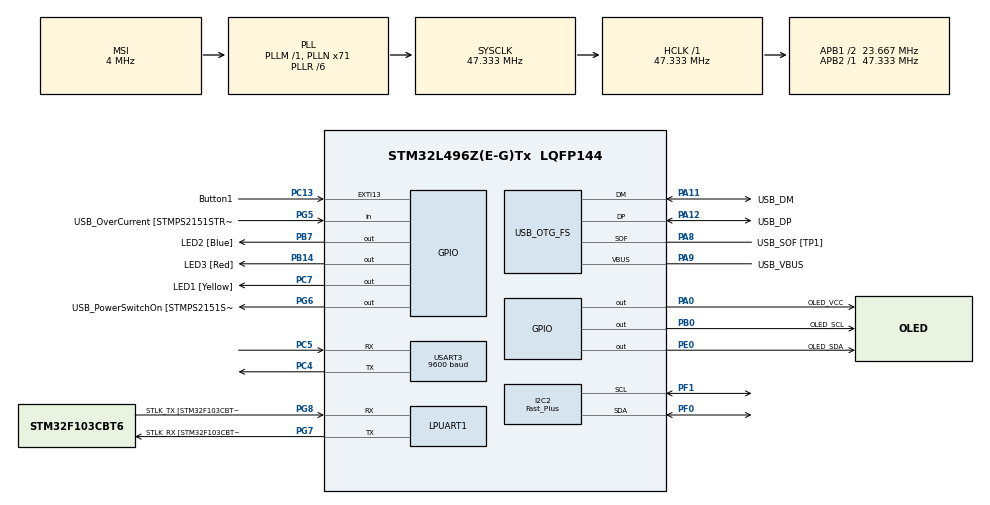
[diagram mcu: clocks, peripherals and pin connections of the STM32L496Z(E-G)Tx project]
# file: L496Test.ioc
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FREERTOS.INCLUDE_eTaskGetState=0
FREERTOS.INCLUDE_pcTaskGetTaskName=0
FREERTOS.INCLUDE_xTaskGetCurrentTaskHandle=0
FREERTOS.INCLUDE_xTaskGetHandle=0
FREERTOS.Tasks01=defaultTask,0,128,StartDefaultTask,Default,NULL,Dynamic,NULL,NULL
I2C2.I2C_Fall_Time=2
I2C2.I2C_Rise_Time=1
I2C2.I2C_Speed_Mode=I2C_Fast_Plus
I2C2.Speed=1000
I2C2.Timing=0x0010020D
Mcu.Family=STM32L4
Mcu.Name=STM32L496Z(E-G)Tx
Mcu.Package=LQFP144
NVIC.EXTI15_10_IRQn=true\:5\:0\:true\:false\:true\:true\:true
NVIC.PriorityGroup=NVIC_PRIORITYGROUP_4
NVIC.TIM1_UP_TIM16_IRQn=true\:0\:0\:false\:false\:true\:false\:false
NVIC.TIM2_IRQn=true\:5\:0\:false\:false\:true\:true\:true
NVIC.TimeBase=TIM1_UP_TIM16_IRQn
NVIC.TimeBaseIP=TIM1
NVIC.USART3_IRQn=true\:6\:0\:true\:false\:true\:true\:true
PA0.GPIO_Label=OLED_VCC
PA0.PinState=GPIO_PIN_SET
PA0.Signal=GPIO_Output
PA10.GPIO_Label=USB_ID
PA10.Signal=USB_OTG_FS_ID
PA11.GPIO_Label=USB_DM
PA11.Mode=Device_Only
PA11.Signal=USB_OTG_FS_DM
PA12.GPIO_Label=USB_DP
PA12.Mode=Device_Only
PA12.Signal=USB_OTG_FS_DP
PA13\ (JTMS/SWDIO).GPIO_Label=TMS
PA13\ (JTMS/SWDIO).Mode=Trace_Asynchronous_SW
PA13\ (JTMS/SWDIO).Signal=SYS_JTMS-SWDIO
PA14\ (JTCK/SWCLK).GPIO_Label=TCK
PA14\ (JTCK/SWCLK).Mode=Trace_Asynchronous_SW
PA14\ (JTCK/SWCLK).Signal=SYS_JTCK-SWCLK
PA8.GPIO_Label=USB_SOF [TP1]
PA8.Mode=Activate_SOF_FS
PA8.Signal=USB_OTG_FS_SOF
PA9.GPIO_Label=USB_VBUS
PA9.Mode=Activate_VBUS
PA9.Signal=USB_OTG_FS_VBUS
PB0.GPIO_Label=OLED_SCL
PB0.GPIO_Speed=GPIO_SPEED_FREQ_VERY_HIGH
PB0.PinState=GPIO_PIN_SET
PB0.Signal=GPIO_Output
PB14.GPIO_Label=LED3 [Red]
PB14.Signal=GPIO_Output
PB3\ (JTDO/TRACESWO).GPIO_Label=SWO
PB3\ (JTDO/TRACESWO).Mode=Trace_Asynchronous_SW
PB3\ (JTDO/TRACESWO).Signal=SYS_JTDO-SWO
PB7.GPIO_Label=LED2 [Blue]
PB7.Signal=GPIO_Output
PC13.GPIO_Label=Button1
PC13.Signal=GPXTI13
PC14-OSC32_IN\ (PC14).Mode=LSE-External-Oscillator
PC14-OSC32_IN\ (PC14).Signal=RCC_OSC32_IN
PC15-OSC32_OUT\ (PC15).Mode=LSE-External-Oscillator
PC15-OSC32_OUT\ (PC15).Signal=RCC_OSC32_OUT
PC4.Mode=Asynchronous
PC4.Signal=USART3_TX
PC5.Mode=Asynchronous
PC5.Signal=USART3_RX
PC7.GPIO_Label=LED1 [Yellow]
PC7.Signal=GPIO_Output
PE0.GPIO_Label=OLED_SDA
PE0.GPIO_Speed=GPIO_SPEED_FREQ_VERY_HIGH
PE0.PinState=GPIO_PIN_SET
PE0.Signal=GPIO_Output
PF0.Mode=I2C
PF0.Signal=I2C2_SDA
PF1.Mode=I2C
PF1.Signal=I2C2_SCL
PG5.GPIO_Label=USB_OverCurrent [STMPS2151STR_FAULT]
PG5.Signal=GPIO_Input
PG6.GPIO_Label=USB_PowerSwitchOn [STMPS2151STR_EN]
PG6.Signal=GPIO_Output
PG7.GPIO_Label=STLK_RX [STM32F103CBT6_PA3]
PG7.Mode=Asynchronous
PG7.Signal=LPUART1_TX
PG8.GPIO_Label=STLK_TX [STM32F103CBT6_PA2]
PG8.Mode=Asynchronous
PG8.Signal=LPUART1_RX
PH1-OSC_OUT\ (PH1).Signal=RCC_OSC_OUT
ProjectManager.HeapSize=0x200
ProjectManager.StackSize=0x400
ProjectManager.TargetToolchain=EWARM V8
RCC.48MHZClocksFreq_Value=24000000
RCC.ADCFreq_Value=48000000
RCC.AHBFreq_Value=47333333.333333336
RCC.APB1CLKDivider=RCC_HCLK_DIV2
RCC.APB1Freq_Value=23666666.666666668
RCC.APB1TimFreq_Value=47333333.333333336
RCC.APB2Freq_Value=47333333.333333336
RCC.APB2TimFreq_Value=47333333.333333336
RCC.CortexFreq_Value=47333333.333333336
RCC.HCLKFreq_Value=47333333.333333336
RCC.HSE_VALUE=8000000
RCC.HSI48_VALUE=48000000
RCC.HSI_VALUE=16000000
RCC.MSI_VALUE=4000000
RCC.PLLMUL=RCC_PLL_MUL9
RCC.PLLN=71
RCC.PLLR=RCC_PLLR_DIV6
RCC.PLLSAI1N=24
RCC.PRESCALERUSB=RCC_USBCLKSOURCE_PLL_DIV1_5
RCC.SYSCLKFreq_VALUE=47333333.333333336
RCC.SYSCLKSource=RCC_SYSCLKSOURCE_PLLCLK
RCC.SYSCLKSourceVirtual=RCC_SYSCLKSOURCE_PLLCLK
RCC.USBFreq_Value=48000000
RCC.VCOOutputFreq_Value=284000000
TIM2.Period=49
TIM2.Prescaler=79
USART3.BaudRate=9600
USART3.VirtualMode-Asynchronous=VM_ASYNC
USB_OTG_FS.VirtualMode=Device_Only
VP_FREERTOS_VS_ENABLE.Mode=Enabled
VP_SYS_VS_tim1.Mode=TIM1
VP_TIM2_VS_ClockSourceINT.Mode=Internal
board=NUCLEO-L496ZG

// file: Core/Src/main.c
/**
  ******************************************************************************
  * @file           : main.c
  * @brief          : Main program body
  ******************************************************************************
  * This notice applies to any and all portions of this file
  * that are not between comment pairs USER CODE BEGIN and
  * USER CODE END. Other portions of this file, whether
  * inserted by the user or by software development tools
  * are owned by their respective copyright owners.
  *
  * Copyright (c) 2018 STMicroelectronics International N.V.
  * All rights reserved.
  *
  * Redistribution and use in source and binary forms, with or without
  * modification, are permitted, provided that the following conditions are met:
  *
  * 1. Redistribution of source code must retain the above copyright notice,
  *    this list of conditions and the following disclaimer.
  * 2. Redistributions in binary form must reproduce the above copyright notice,
  *    this list of conditions and the following disclaimer in the documentation
  *    and/or other materials provided with the distribution.
  * 3. Neither the name of STMicroelectronics nor the names of other
  *    contributors to this software may be used to endorse or promote products
  *    derived from this software without specific written permission.
  * 4. This software, including modifications and/or derivative works of this
  *    software, must execute solely and exclusively on microcontroller or
  *    microprocessor devices manufactured by or for STMicroelectronics.
  * 5. Redistribution and use of this software other than as permitted under
  *    this license is void and will automatically terminate your rights under
  *    this license.
  *
  * THIS SOFTWARE IS PROVIDED BY STMICROELECTRONICS AND CONTRIBUTORS "AS IS"
  * AND ANY EXPRESS, IMPLIED OR STATUTORY WARRANTIES, INCLUDING, BUT NOT
  * LIMITED TO, THE IMPLIED WARRANTIES OF MERCHANTABILITY, FITNESS FOR A
  * PARTICULAR PURPOSE AND NON-INFRINGEMENT OF THIRD PARTY INTELLECTUAL PROPERTY
  * RIGHTS ARE DISCLAIMED TO THE FULLEST EXTENT PERMITTED BY LAW. IN NO EVENT
  * SHALL STMICROELECTRONICS OR CONTRIBUTORS BE LIABLE FOR ANY DIRECT, INDIRECT,
  * INCIDENTAL, SPECIAL, EXEMPLARY, OR CONSEQUENTIAL DAMAGES (INCLUDING, BUT NOT
  * LIMITED TO, PROCUREMENT OF SUBSTITUTE GOODS OR SERVICES; LOSS OF USE, DATA,
  * OR PROFITS; OR BUSINESS INTERRUPTION) HOWEVER CAUSED AND ON ANY THEORY OF
  * LIABILITY, WHETHER IN CONTRACT, STRICT LIABILITY, OR TORT (INCLUDING
  * NEGLIGENCE OR OTHERWISE) ARISING IN ANY WAY OUT OF THE USE OF THIS SOFTWARE,
  * EVEN IF ADVISED OF THE POSSIBILITY OF SUCH DAMAGE.
  *
  ******************************************************************************
  */
#include "main.h"
#include "stm32l4xx_hal.h"
#include "cmsis_os.h"
#include "i2c.h"
#include "usart.h"
#include "tim.h"
#include "usb_otg.h"
#include "gpio.h"

/* USER CODE BEGIN PV */
/* Private variables ---------------------------------------------------------*/

/* USER CODE END PV */

void SystemClock_Config(void);
void MX_FREERTOS_Init(void);

/* USER CODE BEGIN PFP */
/* Private function prototypes -----------------------------------------------*/

/* USER CODE END PFP */

int main(void)
{

  /* MCU Configuration----------------------------------------------------------*/

  /* Reset of all peripherals, Initializes the Flash interface and the Systick. */
  HAL_Init();

  /* Configure the system clock */
  SystemClock_Config();

  /* Initialize all configured peripherals */
  MX_GPIO_Init();
  MX_LPUART1_UART_Init();
  MX_USB_OTG_FS_PCD_Init();
  MX_USART3_UART_Init();
  MX_I2C2_Init();
  MX_TIM2_Init();
  /* USER CODE BEGIN 2 */
    OLED_Init();
    Init_MPU9250();
    HAL_TIM_Base_Start_IT(&htim2);
  /* USER CODE END 2 */

  /* Call init function for freertos objects (in freertos.c) */
  MX_FREERTOS_Init();

  /* Start scheduler */
  osKernelStart();

  /* We should never get here as control is now taken by the scheduler */

  /* Infinite loop */
    while ( 1 )
    {

    }

}

void SystemClock_Config(void)
{

  RCC_OscInitTypeDef RCC_OscInitStruct;
  RCC_ClkInitTypeDef RCC_ClkInitStruct;
  RCC_PeriphCLKInitTypeDef PeriphClkInit;

    /**Configure LSE Drive Capability
    */
  HAL_PWR_EnableBkUpAccess();

  __HAL_RCC_LSEDRIVE_CONFIG(RCC_LSEDRIVE_LOW);

    /**Initializes the CPU, AHB and APB busses clocks
    */
  RCC_OscInitStruct.OscillatorType = RCC_OSCILLATORTYPE_LSE|RCC_OSCILLATORTYPE_MSI;
  RCC_OscInitStruct.LSEState = RCC_LSE_ON;
  RCC_OscInitStruct.MSIState = RCC_MSI_ON;
  RCC_OscInitStruct.MSICalibrationValue = 0;
  RCC_OscInitStruct.MSIClockRange = RCC_MSIRANGE_6;
  RCC_OscInitStruct.PLL.PLLState = RCC_PLL_ON;
  RCC_OscInitStruct.PLL.PLLSource = RCC_PLLSOURCE_MSI;
  RCC_OscInitStruct.PLL.PLLM = 1;
  RCC_OscInitStruct.PLL.PLLN = 71;
  RCC_OscInitStruct.PLL.PLLP = RCC_PLLP_DIV2;
  RCC_OscInitStruct.PLL.PLLQ = RCC_PLLQ_DIV2;
  RCC_OscInitStruct.PLL.PLLR = RCC_PLLR_DIV6;
  if (HAL_RCC_OscConfig(&RCC_OscInitStruct) != HAL_OK)
  {
    _Error_Handler(__FILE__, __LINE__);
  }

    /**Initializes the CPU, AHB and APB busses clocks
    */
  RCC_ClkInitStruct.ClockType = RCC_CLOCKTYPE_HCLK|RCC_CLOCKTYPE_SYSCLK
                              |RCC_CLOCKTYPE_PCLK1|RCC_CLOCKTYPE_PCLK2;
  RCC_ClkInitStruct.SYSCLKSource = RCC_SYSCLKSOURCE_PLLCLK;
  RCC_ClkInitStruct.AHBCLKDivider = RCC_SYSCLK_DIV1;
  RCC_ClkInitStruct.APB1CLKDivider = RCC_HCLK_DIV2;
  RCC_ClkInitStruct.APB2CLKDivider = RCC_HCLK_DIV1;

  if (HAL_RCC_ClockConfig(&RCC_ClkInitStruct, FLASH_LATENCY_2) != HAL_OK)
  {
    _Error_Handler(__FILE__, __LINE__);
  }

  PeriphClkInit.PeriphClockSelection = RCC_PERIPHCLK_USART3|RCC_PERIPHCLK_LPUART1
                              |RCC_PERIPHCLK_I2C2|RCC_PERIPHCLK_USB;
  PeriphClkInit.Usart3ClockSelection = RCC_USART3CLKSOURCE_PCLK1;
  PeriphClkInit.Lpuart1ClockSelection = RCC_LPUART1CLKSOURCE_PCLK1;
  PeriphClkInit.I2c2ClockSelection = RCC_I2C2CLKSOURCE_PCLK1;
  PeriphClkInit.UsbClockSelection = RCC_USBCLKSOURCE_PLLSAI1;
  PeriphClkInit.PLLSAI1.PLLSAI1Source = RCC_PLLSOURCE_MSI;
  PeriphClkInit.PLLSAI1.PLLSAI1M = 1;
  PeriphClkInit.PLLSAI1.PLLSAI1N = 24;
  PeriphClkInit.PLLSAI1.PLLSAI1P = RCC_PLLP_DIV2;
  PeriphClkInit.PLLSAI1.PLLSAI1Q = RCC_PLLQ_DIV2;
  PeriphClkInit.PLLSAI1.PLLSAI1R = RCC_PLLR_DIV2;
  PeriphClkInit.PLLSAI1.PLLSAI1ClockOut = RCC_PLLSAI1_48M2CLK;
  if (HAL_RCCEx_PeriphCLKConfig(&PeriphClkInit) != HAL_OK)
  {
    _Error_Handler(__FILE__, __LINE__);
  }

    /**Configure the main internal regulator output voltage
    */
  if (HAL_PWREx_ControlVoltageScaling(PWR_REGULATOR_VOLTAGE_SCALE1) != HAL_OK)
  {
    _Error_Handler(__FILE__, __LINE__);
  }

    /**Configure the Systick interrupt time
    */
  HAL_SYSTICK_Config(HAL_RCC_GetHCLKFreq()/1000);

    /**Configure the Systick
    */
  HAL_SYSTICK_CLKSourceConfig(SYSTICK_CLKSOURCE_HCLK);

    /**Enable MSI Auto calibration
    */
  HAL_RCCEx_EnableMSIPLLMode();

  /* SysTick_IRQn interrupt configuration */
  HAL_NVIC_SetPriority(SysTick_IRQn, 15, 0);
}

void HAL_TIM_PeriodElapsedCallback(TIM_HandleTypeDef *htim)
{
  if (htim->Instance == TIM1) {
    HAL_IncTick();
  }
  /* USER CODE BEGIN Callback 1 */
    if (htim->Instance == TIM2)
    {
        ulHighFrequencyTimerTicks++;
        HAL_GPIO_TogglePin(LED2_GPIO_Port, LED2_Pin);
    }
  /* USER CODE END Callback 1 */
}

void _Error_Handler(char *file, int line)
{
    while ( 1 )
    {
    }
}

#ifdef  USE_FULL_ASSERT
/**
  * @brief  Reports the name of the source file and the source line number
  *         where the assert_param error has occurred.
  * @param  file: pointer to the source file name
  * @param  line: assert_param error line source number
  * @retval None
  */
void assert_failed(uint8_t* file, uint32_t line)
{
  /* USER CODE BEGIN 6 */
    /* User can add his own implementation to report the file name and line number,
       tex: printf("Wrong parameters value: file %s on line %d\r\n", file, line) */
    printf("Wrong parameters value: file %s on line %d\r\n", file, line);
  /* USER CODE END 6 */
}
#endif /* USE_FULL_ASSERT */

/************************ (C) COPYRIGHT STMicroelectronics *****END OF FILE****/

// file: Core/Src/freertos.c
/* USER CODE BEGIN Header */
/**
  ******************************************************************************
  * File Name          : freertos.c
  * Description        : Code for freertos applications
  ******************************************************************************
  * This notice applies to any and all portions of this file
  * that are not between comment pairs USER CODE BEGIN and
  * USER CODE END. Other portions of this file, whether
  * inserted by the user or by software development tools
  * are owned by their respective copyright owners.
  *
  * Copyright (c) 2018 STMicroelectronics International N.V.
  * All rights reserved.
  *
  * Redistribution and use in source and binary forms, with or without
  * modification, are permitted, provided that the following conditions are met:
  *
  * 1. Redistribution of source code must retain the above copyright notice,
  *    this list of conditions and the following disclaimer.
  * 2. Redistributions in binary form must reproduce the above copyright notice,
  *    this list of conditions and the following disclaimer in the documentation
  *    and/or other materials provided with the distribution.
  * 3. Neither the name of STMicroelectronics nor the names of other
  *    contributors to this software may be used to endorse or promote products
  *    derived from this software without specific written permission.
  * 4. This software, including modifications and/or derivative works of this
  *    software, must execute solely and exclusively on microcontroller or
  *    microprocessor devices manufactured by or for STMicroelectronics.
  * 5. Redistribution and use of this software other than as permitted under
  *    this license is void and will automatically terminate your rights under
  *    this license.
  *
  * THIS SOFTWARE IS PROVIDED BY STMICROELECTRONICS AND CONTRIBUTORS "AS IS"
  * AND ANY EXPRESS, IMPLIED OR STATUTORY WARRANTIES, INCLUDING, BUT NOT
  * LIMITED TO, THE IMPLIED WARRANTIES OF MERCHANTABILITY, FITNESS FOR A
  * PARTICULAR PURPOSE AND NON-INFRINGEMENT OF THIRD PARTY INTELLECTUAL PROPERTY
  * RIGHTS ARE DISCLAIMED TO THE FULLEST EXTENT PERMITTED BY LAW. IN NO EVENT
  * SHALL STMICROELECTRONICS OR CONTRIBUTORS BE LIABLE FOR ANY DIRECT, INDIRECT,
  * INCIDENTAL, SPECIAL, EXEMPLARY, OR CONSEQUENTIAL DAMAGES (INCLUDING, BUT NOT
  * LIMITED TO, PROCUREMENT OF SUBSTITUTE GOODS OR SERVICES; LOSS OF USE, DATA,
  * OR PROFITS; OR BUSINESS INTERRUPTION) HOWEVER CAUSED AND ON ANY THEORY OF
  * LIABILITY, WHETHER IN CONTRACT, STRICT LIABILITY, OR TORT (INCLUDING
  * NEGLIGENCE OR OTHERWISE) ARISING IN ANY WAY OUT OF THE USE OF THIS SOFTWARE,
  * EVEN IF ADVISED OF THE POSSIBILITY OF SUCH DAMAGE.
  *
  ******************************************************************************
  */
/* USER CODE END Header */

#include "FreeRTOS.h"
#include "task.h"
#include "main.h"
#include "cmsis_os.h"

/* USER CODE BEGIN Includes */
#include "common.h"
#include "string.h"
/* USER CODE END Includes */

/* USER CODE BEGIN Variables */

/* 定义服务 */
osThreadId LED3TaskHandle;
osThreadId OLEDTaskHandle;          // OLED 显示内容
osThreadId OLEDRefreshHandle;       // OLED 显示刷新
osThreadId ReadTaskStateHandle;     // 显示任务状态

/* USER CODE END Variables */
osThreadId defaultTaskHandle;

/* USER CODE BEGIN FunctionPrototypes */
void StartLED3Task(void const * argument);
void OLEDShowTask(void const * argument);
void OLEDRefreshTask(void const * argument);
void ReadTaskStateTask(void const * argument);

/* USER CODE END FunctionPrototypes */

void StartDefaultTask(void const * argument);

void MX_FREERTOS_Init(void); /* (MISRA C 2004 rule 8.1) */

void MX_FREERTOS_Init(void) {

  /* Create the thread(s) */
  /* definition and creation of defaultTask */
  osThreadDef(defaultTask, StartDefaultTask, osPriorityNormal, 0, 128);
  defaultTaskHandle = osThreadCreate(osThread(defaultTask), NULL);

  /* USER CODE BEGIN RTOS_THREADS */
    /* add threads, ... */
    osThreadDef(LED3Task,       StartLED3Task,      osPriorityNormal,       0, 32);
    osThreadDef(OLEDShow,       OLEDShowTask,       osPriorityAboveNormal,  0, 128);    // OLED 显示内容
    osThreadDef(OLEDRefresh,    OLEDRefreshTask,    osPriorityNormal,       0, 64);     // OLED 显示刷新
    osThreadDef(ReadTaskState,  ReadTaskStateTask,  osPriorityNormal,       0, 128);    // 显示任务状态

  /* USER CODE END RTOS_THREADS */

  /* USER CODE BEGIN RTOS_QUEUES */
    /* add queues, ... */
    LED3TaskHandle      = osThreadCreate(osThread(LED3Task),        NULL);
    OLEDTaskHandle      = osThreadCreate(osThread(OLEDShow),        NULL);      // OLED 显示内容
    OLEDRefreshHandle   = osThreadCreate(osThread(OLEDRefresh),     NULL);      // OLED 显示刷新
    ReadTaskStateHandle = osThreadCreate(osThread(ReadTaskState),   NULL);      // 显示任务状态

  /* USER CODE END RTOS_QUEUES */
}

void StartDefaultTask(void const * argument)
{

  /* USER CODE BEGIN StartDefaultTask */
    /* Infinite loop */

    for (;;)
    {
        osDelay(500);
        HAL_GPIO_TogglePin(LED1_GPIO_Port, LED1_Pin);

//        osDelay(100);
//        printf("Temp:91.79 \r\n");
//        printf("Hum:109.23 \n");
    }
  /* USER CODE END StartDefaultTask */
}

/* USER CODE BEGIN Application */
void StartLED3Task(void const * argument)
{
    for (;;)
    {
        osDelay(250);
        HAL_GPIO_TogglePin(LED3_GPIO_Port, LED3_Pin);

    }
}

void OLEDShowTask(void const * argument)
{
    for (;;)
    {
        osDelay(40);
        static uint32_t count = 0;
//        char str[20] = {0};           // 这里是个疑问，用*str就不行
//        sprintf(str, "计数:%d", count++);
//        OLED_Show_StrAll(0, 0, str, 1);

        OLED_Show_Pic(11, 25, IMG64[(count++/15)%5], 64, 64, 1);
        switch ((count++/15)%5)
        {
            case 0:
                OLED_Show_StrAll(23, 95, 16, "拨 号", 1);
                break;
            case 1:
                OLED_Show_StrAll(23, 95, 16, "影 音", 1);
                break;
            case 2:
                OLED_Show_StrAll(23, 95, 16, "搜 索", 1);
                break;
            case 3:
                OLED_Show_StrAll(23, 95, 16, "游 戏", 1);
                break;
            case 4:
                OLED_Show_StrAll(23, 95, 16, "设 置", 1);
                break;

        }

        OLED_Refresh_Gram();
    }
}

void OLEDRefreshTask(void const * argument)
{
    for (;;)
    {
        osDelay(40);    // 大概25帧
//        OLED_Refresh_Gram();
    }
}

char RunTimeInfo[512];
void ReadTaskStateTask(void const * argument)
{
//    char *pcWriteBuffer = 0;
    for (;;)
    {
        osDelay(10);
        if (HAL_GPIO_ReadPin(Button1_GPIO_Port, Button1_Pin) == GPIO_PIN_SET)
        {
            // 为什么大于4个任务就完全不显示
//            vTaskList((char *)&pcWriteBuffer);
//    //        printf("U\t\tU\tU\tU\tU\r\n");
//            printf("任务名      运行状态  优先级  剩余栈 任务序号\r\n");
//            printf(pcWriteBuffer);
//            printf("\r\n");
//
//    //        printf("\r\nUU\t\tUU\t\tUU\r\n");

            TaskHandle_t TaskHandle;        // 任务句柄
            TaskStatus_t TaskStatus;        // 任务信息结构体

            uint32_t TotalRunTime = 0;
            UBaseType_t ArraySize = uxTaskGetNumberOfTasks();   // 获取任务数量
            TaskStatus_t *StatusArray = pvPortMalloc(ArraySize * sizeof(TaskStatus_t)); // 申请内存
            if (StatusArray != NULL)
            {
                ArraySize = uxTaskGetSystemState((TaskStatus_t *)StatusArray,
                                                 (UBaseType_t   )ArraySize,
                                                 (uint32_t *    )&TotalRunTime);

                printf("%-15s   %-8s   %-8s   %-8s   %-8s   %-8s   %-10s \r\n",
                       "任务名",
                       "基优先级",
                       "当前优先",
                       "任务序号",
                       "运行状态",
                       "栈史小值",
                       "堆栈基地址");
                for (UBaseType_t i=0; i<ArraySize; i++)
                {
                    TaskHandle = xTaskGetHandle(StatusArray[i].pcTaskName); // 获取任务句柄
                    vTaskGetInfo((TaskHandle_t      )TaskHandle,
                                 (TaskStatus_t *    )&TaskStatus,
                                 (BaseType_t        )10,
                                 (eTaskState        )eInvalid);

                    char stateStr[8] = {0};
                    switch (TaskStatus.eCurrentState)
                    {
                        case eRunning:
                            sprintf(stateStr, "运行");
                            break;
                        case eReady:
                            sprintf(stateStr, "就绪");
                            break;
                        case eBlocked:
                            sprintf(stateStr, "阻塞");
                            break;
                        case eSuspended:
                            sprintf(stateStr, "暂停");
                            break;
                        case eDeleted:
                            sprintf(stateStr, "删除");
                            break;
                        case eInvalid:
                            sprintf(stateStr, "无效");
                            break;
                    }

                    printf("%-15s   %-8d   %-8d   %-8d   %-8s   %-8d   %-#10x \r\n",
                           StatusArray[i].pcTaskName,               // 任务名
                           (int)TaskStatus.uxBasePriority,          // 任务基优先级
                           (int)TaskStatus.uxCurrentPriority,       // 任务当前优先级
                           (int)TaskStatus.xTaskNumber,             // 任务序号
                           stateStr,                                // 任务运行状态
                           (int)TaskStatus.usStackHighWaterMark,    // 任务堆栈历史最小值
                           (int)TaskStatus.pxStackBase              // 任务堆栈基地址

                          );
                }
                printf("\r\n");
                printf("任务名          运行时间        使用率\r\n");
                memset(RunTimeInfo, 0, 400);
                vTaskGetRunTimeStats(RunTimeInfo);
                printf("%s\r\n", RunTimeInfo);
            }
            vPortFree(StatusArray);

            while (HAL_GPIO_ReadPin(Button1_GPIO_Port, Button1_Pin) == GPIO_PIN_SET);
        }
    }
}
/* USER CODE END Application */

/************************ (C) COPYRIGHT STMicroelectronics *****END OF FILE****/
